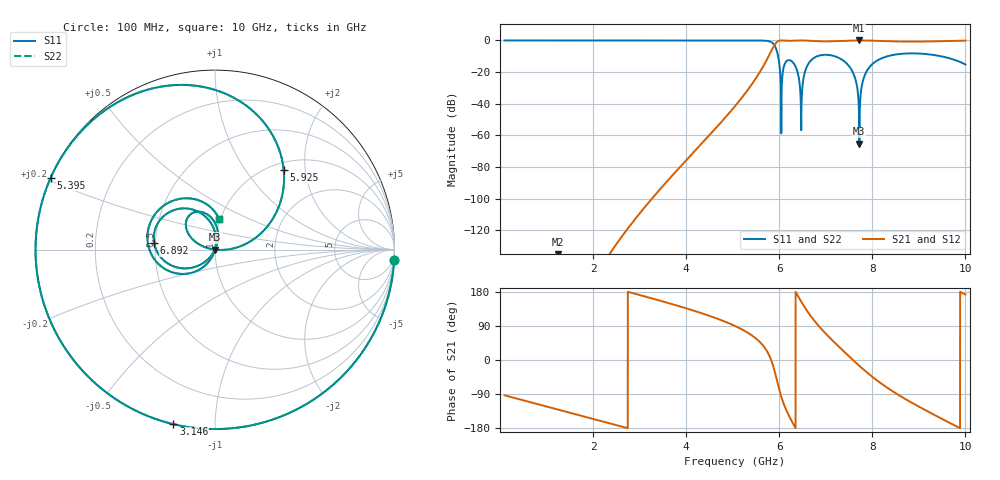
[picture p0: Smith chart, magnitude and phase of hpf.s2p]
! Simulation of a Chebyshev HPF, 6 GHz
# hz S ma R 50
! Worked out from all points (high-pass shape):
!   4301 points, 100 MHz to 10 GHz, reference 50 ohm
!   highest |S21| = 0.00 dB at 7.721 GHz (marker M1); lowest = -199.0 dB at 1.237 GHz (marker M2)
!   |S21| within 3 dB of the highest: 5.897 GHz to end of sweep
!   lowest |S11| = -65.2 dB at 7.721 GHz (marker M3), VSWR 1.00, Z = 50 + j0.0529 ohm
!   |S11| at or under -10 dB: 5.976 GHz to 6.816 GHz (839.9 MHz wide, 13.1 % of centre); 7.194 GHz to 8.322 GHz (1.129 GHz wide, 14.5 % of centre); 9.479 GHz to end of sweep
!   |S22| runs from -65.2 to 0.0 dB; largest |S21 - S12| = 0
!   S11 on the Smith chart (normalised r, x): 100 MHz: -0, -35; 3.146 GHz: 0.00, -0.79; 5.395 GHz: 0.00, +0.21; 5.925 GHz: 1.14, +1.54; 6.892 GHz: 0.49, +0.04; 10 GHz: 0.98, +0.35
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1e8  1 -3.3  9.808e-23 -93.3  9.808e-23 -93.3  1 -3.3
1.237349e9  1 -40.5  1.128e-10 -130.5  1.128e-10 -130.5  1 -40.5
1.750767e9  1 -57.3  5.706e-09 -147.3  5.706e-09 -147.3  1 -57.3
3.145977e9  1 -103.4  6.219e-06 166.6  6.219e-06 166.6  1 -103.4
3.401535e9  1 -112.1  1.716e-05 157.9  1.716e-05 157.9  1 -112.1
3.89193e9  1 -129.6  0.000109 140.4  0.000109 140.4  1 -129.6
5.05e9  1 179.8  0.008388 89.8  0.008388 89.8  1 179.8
5.395349e9  0.9993 156.4  0.03814 66.4  0.03814 66.4  0.9993 156.4
5.777535e9  0.9445 104.0  0.3284 14.0  0.3284 14.0  0.9445 104.0
5.924884e9  0.5853 49.1  0.8108 -40.9  0.8108 -40.9  0.5853 49.1
6.06993e9  0.08112 163.3  0.9967 -106.7  0.9967 -106.7  0.08112 163.3
6.139e9  0.2072 141.4  0.9783 -128.6  0.9783 -128.6  0.2072 141.4
6.263326e9  0.2231 109.9  0.9748 -160.1  0.9748 -160.1  0.2231 109.9
6.468233e9  0.004521 65.0  1 155.1  1 155.1  0.004521 65.0
6.700767e9  0.2482 -157.8  0.9687 112.2  0.9687 112.2  0.2482 -157.8
6.89186e9  0.3409 173.8  0.9401 83.8  0.9401 83.8  0.3409 173.8
7.478953e9  0.1684 102.0  0.9857 12.0  0.9857 12.0  0.1684 102.0
7.720698e9  0.0005483 74.7  1 -15.3  1 -15.3  0.0005483 74.7
7.907186e9  0.1238 -125.1  0.9923 -35.1  0.9923 -35.1  0.1238 -125.1
8.351535e9  0.3248 -165.7  0.9458 -75.7  0.9458 -75.7  0.3248 -165.7
9.244837e9  0.3595 130.8  0.9331 -139.2  0.9331 -139.2  0.3595 130.8
1e10  0.1742 82.9  0.9847 172.9  0.9847 172.9  0.1742 82.9
